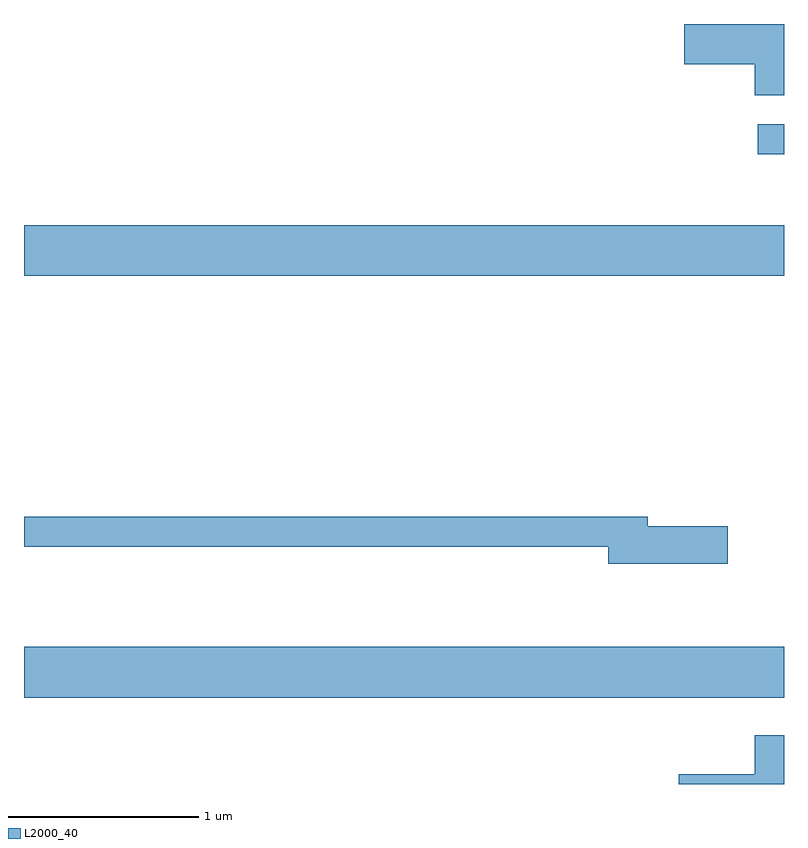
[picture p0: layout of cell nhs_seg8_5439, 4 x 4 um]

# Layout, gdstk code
import gdstk
lib = gdstk.Library(unit=1e-6, precision=1e-09)
def R(c, l, rs):  # rectangles x0, y0, x1, y1
    for r in rs: c.add(gdstk.rectangle(r[:2], r[2:], *l))
def P(c, l, *ps):  # polygons
    for p in ps: c.add(gdstk.Polygon(p, *l))
L2000_40 = (2000, 40)

nhs_seg8_5439 = lib.new_cell('nhs_seg8_5439')
R(nhs_seg8_5439, L2000_40, [(347.611,1900.796,351.611,1901.064), (347.611,1903.016,351.611,1903.284), (351.473,1903.656,351.611,1903.814)])
P(nhs_seg8_5439, L2000_40, [(351.611,1904.342),(351.086,1904.342),(351.086,1904.131),(351.456,1904.131),(351.456,1903.966),(351.611,1903.966)],
  [(351.314,1901.699),(350.894,1901.699),(350.894,1901.749),(347.611,1901.749),(347.611,1901.591),(350.686,1901.591),(350.686,1901.501),(351.314,1901.501)],
  [(351.611,1900.599),(351.456,1900.599),(351.456,1900.394),(351.056,1900.394),(351.056,1900.342),(351.611,1900.342)])

lib.write_gds('nhs_seg8_5439.gds')
